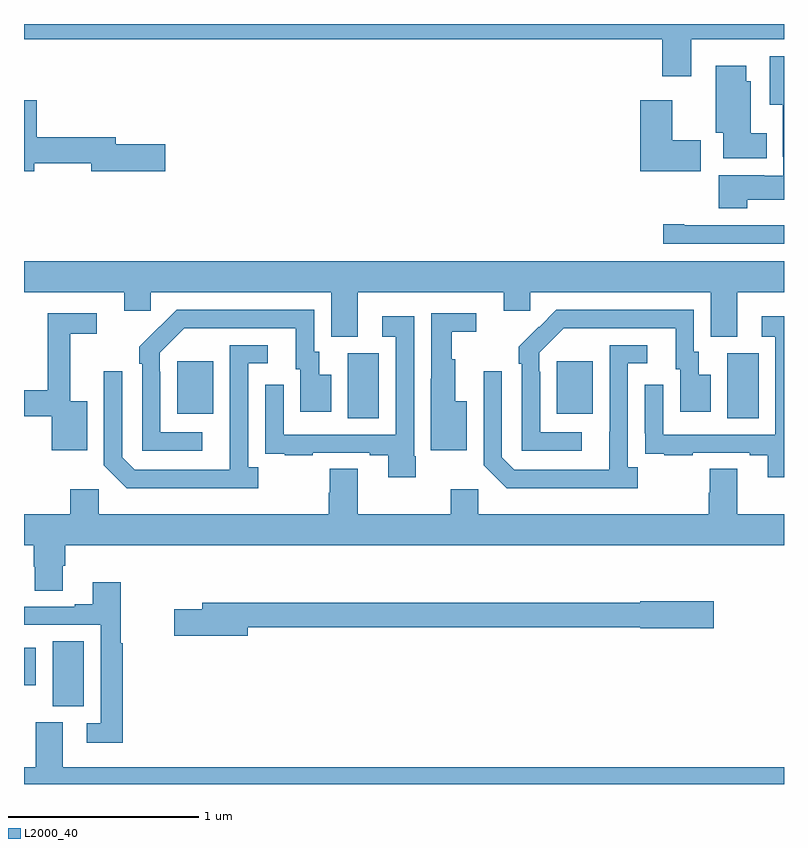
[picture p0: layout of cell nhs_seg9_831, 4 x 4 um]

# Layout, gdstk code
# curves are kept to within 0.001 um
import gdstk
lib = gdstk.Library(unit=1e-6, precision=1e-09)
def R(c, l, rs):  # rectangles x0, y0, x1, y1
    for r in rs: c.add(gdstk.rectangle(r[:2], r[2:], *l))
def P(c, l, *ps):  # polygons
    for p in ps: c.add(gdstk.Polygon(p, *l))
L2000_40 = (2000, 40)

nhs_seg9_831 = lib.new_cell('nhs_seg9_831')
R(nhs_seg9_831, L2000_40, [(155.15,1192.909,155.314,1193.252), (155,1193.021,155.062,1193.218), (156.704,1194.424,156.868,1194.768), (158.702,1194.424,158.866,1194.768), (155.807,1194.449,155.995,1194.724), (157.805,1194.449,157.993,1194.724)])
P(nhs_seg9_831, L2000_40, [(158.512,1196.42),(159,1196.42),(159,1196.5),(155,1196.5),(155,1196.42),(158.36,1196.42),(158.36,1196.226),(158.512,1196.226)],
  [(158.806,1195.575),(159,1195.575),(159,1196.329),(158.924,1196.329),(158.924,1196.075),(158.993,1196.075),(158.993,1195.801),(158.997,1195.801),(158.997,1195.701),(158.897,1195.701),(158.897,1195.705),(158.657,1195.705),(158.657,1195.529),(158.806,1195.529)],
  [(158.908,1195.924),(158.824,1195.924),(158.824,1196.199),(158.8,1196.199),(158.8,1196.281),(158.642,1196.281),(158.642,1195.928),(158.681,1195.928),(158.681,1195.793),(158.908,1195.793)],
  [(158.563,1195.887),(158.413,1195.887),(158.413,1196.098),(158.243,1196.098),(158.243,1195.724),(158.563,1195.724)],
  [(155.053,1195.768),(155.354,1195.768),(155.354,1195.726),(155.743,1195.726),(155.743,1195.868),(155.482,1195.868),(155.482,1195.904),(155.066,1195.904),(155.066,1196.098),(155,1196.098),(155,1195.724),(155.053,1195.724)],
  [(159,1195.44),(158.476,1195.44),(158.476,1195.445),(158.364,1195.445),(158.364,1195.344),(159,1195.344)],
  [(155,1195.088),(155.528,1195.088),(155.528,1194.99),(155.667,1194.99),(155.667,1195.088),(156.617,1195.088),(156.617,1194.853),(156.757,1194.853),(156.757,1195.088),(157.526,1195.088),(157.526,1194.99),(157.665,1194.99),(157.665,1195.088),(158.615,1195.088),(158.615,1194.853),(158.755,1194.853),(158.755,1195.088),(159,1195.088),(159,1195.252),(155,1195.252)],
  [(157.936,1194.351),(157.716,1194.351),(157.716,1194.671),(157.713,1194.671),(157.713,1194.771),(157.842,1194.9),(158.429,1194.9),(158.429,1194.684),(158.453,1194.684),(158.453,1194.459),(158.614,1194.459),(158.614,1194.655),(158.551,1194.655),(158.551,1194.774),(158.526,1194.774),(158.526,1194.996),(157.802,1194.996),(157.605,1194.801),(157.605,1194.713),(157.62,1194.713),(157.62,1194.255),(157.936,1194.255)],
  [(155.938,1194.351),(155.718,1194.351),(155.718,1194.671),(155.715,1194.671),(155.715,1194.771),(155.844,1194.9),(156.431,1194.9),(156.431,1194.684),(156.455,1194.684),(156.455,1194.459),(156.616,1194.459),(156.616,1194.655),(156.553,1194.655),(156.553,1194.774),(156.528,1194.774),(156.528,1194.996),(155.804,1194.996),(155.607,1194.801),(155.607,1194.713),(155.622,1194.713),(155.622,1194.255),(155.938,1194.255)],
  [(157.33,1194.514),(157.27,1194.514),(157.27,1194.736),(157.252,1194.736),(157.252,1194.881),(157.381,1194.881),(157.381,1194.978),(157.143,1194.978),(157.143,1194.632),(157.142,1194.632),(157.142,1194.257),(157.33,1194.257)],
  [(155.332,1194.514),(155.243,1194.514),(155.243,1194.87),(155.383,1194.87),(155.383,1194.978),(155.125,1194.978),(155.125,1194.572),(155,1194.572),(155,1194.436),(155.145,1194.436),(155.145,1194.257),(155.332,1194.257)],
  [(159,1194.961),(158.883,1194.961),(158.883,1194.855),(158.955,1194.855),(158.955,1194.339),(158.364,1194.339),(158.364,1194.601),(158.268,1194.601),(158.268,1194.346),(158.269,1194.346),(158.269,1194.237),(158.371,1194.237),(158.371,1194.231),(158.519,1194.231),(158.519,1194.243),(158.819,1194.243),(158.819,1194.231),(158.915,1194.231),(158.915,1194.114),(159,1194.114)],
  [(157.062,1194.226),(157.053,1194.226),(157.053,1194.961),(156.885,1194.961),(156.885,1194.855),(156.957,1194.855),(156.957,1194.339),(156.366,1194.339),(156.366,1194.601),(156.27,1194.601),(156.27,1194.346),(156.271,1194.346),(156.271,1194.237),(156.373,1194.237),(156.373,1194.231),(156.521,1194.231),(156.521,1194.243),(156.821,1194.243),(156.821,1194.231),(156.917,1194.231),(156.917,1194.114),(157.062,1194.114)],
  [(156.232,1194.166),(156.18,1194.166),(156.18,1194.714),(156.283,1194.714),(156.283,1194.81),(156.084,1194.81),(156.083,1194.153),(155.583,1194.153),(155.517,1194.219),(155.517,1194.673),(155.421,1194.673),(155.421,1194.177),(155.542,1194.056),(156.232,1194.056)],
  [(158.23,1194.166),(158.178,1194.166),(158.178,1194.714),(158.281,1194.714),(158.281,1194.81),(158.082,1194.81),(158.081,1194.153),(157.581,1194.153),(157.515,1194.219),(157.515,1194.673),(157.419,1194.673),(157.419,1194.177),(157.54,1194.056),(158.23,1194.056)],
  [(155.203,1193.65),(155.216,1193.65),(155.216,1193.756),(159,1193.756),(159,1193.92),(158.755,1193.92),(158.755,1194.158),(158.608,1194.158),(158.608,1194.033),(158.603,1194.033),(158.603,1193.92),(157.392,1193.92),(157.392,1194.052),(157.246,1194.052),(157.246,1193.92),(156.757,1193.92),(156.757,1194.158),(156.61,1194.158),(156.61,1194.033),(156.605,1194.033),(156.605,1193.92),(155.394,1193.92),(155.394,1194.052),(155.243,1194.052),(155.243,1193.92),(155,1193.92),(155,1193.756),(155.051,1193.756),(155.051,1193.643),(155.056,1193.643),(155.056,1193.518),(155.203,1193.518)],
  [(155.519,1193.24),(155.508,1193.24),(155.508,1193.563),(155.363,1193.563),(155.363,1193.446),(155.267,1193.446),(155.267,1193.433),(155,1193.433),(155,1193.337),(155.403,1193.337),(155.403,1192.821),(155.331,1192.821),(155.331,1192.716),(155.519,1192.716)],
  [(156.178,1193.326),(158.244,1193.326),(158.244,1193.321),(158.629,1193.321),(158.629,1193.463),(158.244,1193.463),(158.244,1193.455),(155.939,1193.455),(155.939,1193.421),(155.79,1193.421),(155.79,1193.279),(156.178,1193.279)],
  [(159,1192.588),(155.203,1192.588),(155.203,1192.824),(155.063,1192.824),(155.063,1192.588),(155,1192.588),(155,1192.5),(159,1192.5)])

lib.write_gds('nhs_seg9_831.gds')
